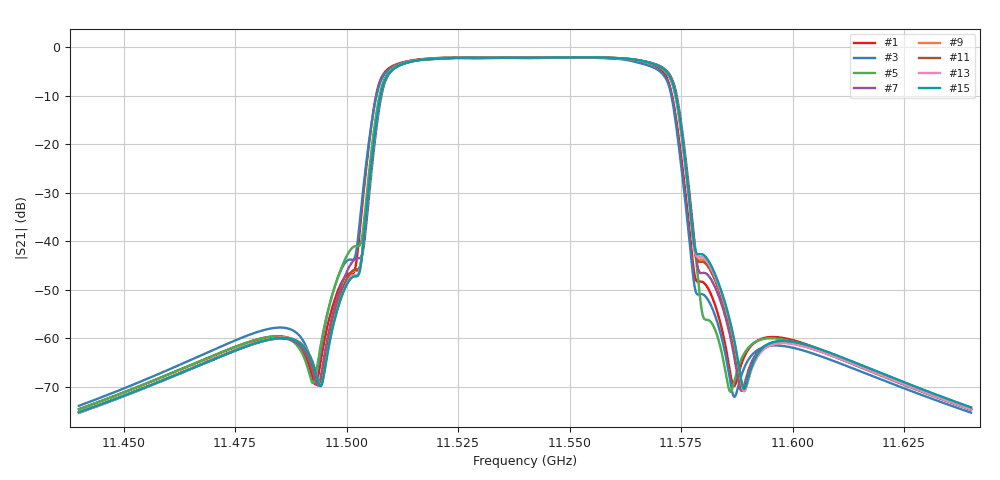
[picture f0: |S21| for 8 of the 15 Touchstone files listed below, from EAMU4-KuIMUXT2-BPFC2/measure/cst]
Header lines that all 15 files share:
! This file was generated by CST Filter Designer 3D
# MHZ S RI R 50
!  Frequency  Re(S11)  Im(S11)  Re(S21)  Im(S21)  Re(S12)  Im(S12)  Re(S22)  Im(S22)
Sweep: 11.44 GHz to 11.64 GHz
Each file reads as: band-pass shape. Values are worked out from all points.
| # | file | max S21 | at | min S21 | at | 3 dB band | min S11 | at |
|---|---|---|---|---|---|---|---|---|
| 1 | 16.s2p | -2.06 dB | 11.552 GHz | -74.6 dB | 11.44 GHz | 11.509 GHz-11.571 GHz | -54.6 dB | 11.534 GHz |
| 2 | 17.s2p | -2.09 dB | 11.545 GHz | -74.8 dB | 11.64 GHz | 11.509 GHz-11.571 GHz | -49.7 dB | 11.544 GHz |
| 3 | 18.s2p | -2.09 dB | 11.549 GHz | -75.3 dB | 11.64 GHz | 11.509 GHz-11.57 GHz | -40.5 dB | 11.561 GHz |
| 4 | 19.s2p | -2.14 dB | 11.529 GHz | -77.5 dB | 11.582 GHz | 11.509 GHz-11.57 GHz | -29.3 dB | 11.572 GHz |
| 5 | 20.s2p | -2.07 dB | 11.553 GHz | -74.8 dB | 11.64 GHz | 11.51 GHz-11.571 GHz | -49.7 dB | 11.534 GHz |
| 6 | 21.s2p | -2.07 dB | 11.554 GHz | -75.3 dB | 11.44 GHz | 11.51 GHz-11.572 GHz | -36.7 dB | 11.572 GHz |
| 7 | 22.s2p | -2.08 dB | 11.554 GHz | -75.4 dB | 11.44 GHz | 11.51 GHz-11.572 GHz | -48.5 dB | 11.557 GHz |
| 8 | 23.s2p | -2.07 dB | 11.553 GHz | -75.5 dB | 11.44 GHz | 11.51 GHz-11.572 GHz | -56.0 dB | 11.556 GHz |
| 9 | 24.s2p | -2.08 dB | 11.554 GHz | -75.3 dB | 11.44 GHz | 11.51 GHz-11.572 GHz | -40.3 dB | 11.537 GHz |
| 10 | 25.s2p | -2.08 dB | 11.528 GHz | -75.4 dB | 11.44 GHz | 11.51 GHz-11.572 GHz | -43.2 dB | 11.537 GHz |
| 11 | 26.s2p | -2.08 dB | 11.553 GHz | -75.4 dB | 11.44 GHz | 11.51 GHz-11.572 GHz | -48.8 dB | 11.537 GHz |
| 12 | 27.s2p | -2.08 dB | 11.553 GHz | -75.4 dB | 11.44 GHz | 11.51 GHz-11.572 GHz | -34.3 dB | 11.537 GHz |
| 13 | 28.s2p | -2.07 dB | 11.553 GHz | -75.4 dB | 11.44 GHz | 11.51 GHz-11.572 GHz | -30.2 dB | 11.556 GHz |
| 14 | 29.s2p | -2.08 dB | 11.553 GHz | -75.3 dB | 11.44 GHz | 11.51 GHz-11.572 GHz | -32.8 dB | 11.537 GHz |
| 15 | 30.s2p | -2.07 dB | 11.554 GHz | -75.3 dB | 11.44 GHz | 11.51 GHz-11.572 GHz | -35.5 dB | 11.536 GHz |
